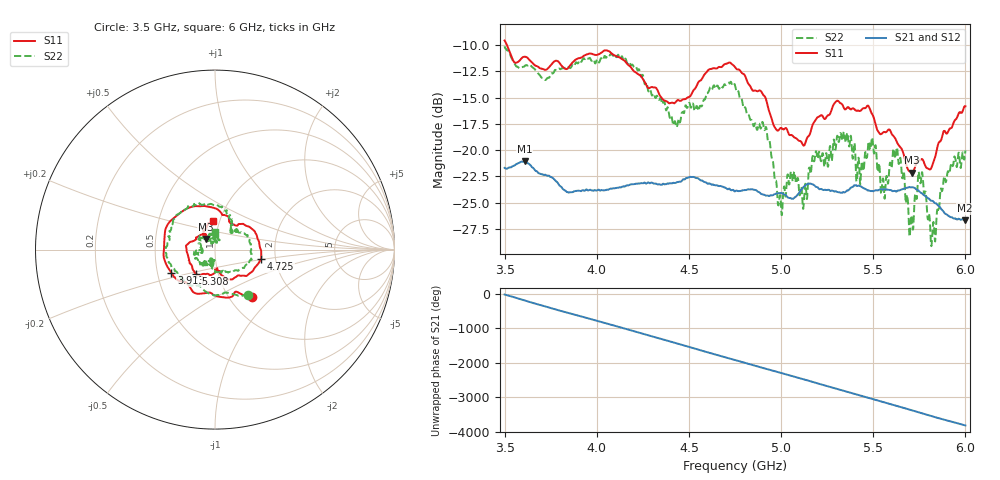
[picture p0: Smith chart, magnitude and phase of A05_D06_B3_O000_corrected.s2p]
! Created with skrf 1.9.0 (http://scikit-rf.org).
# Hz S RI R 50.0
!freq ReS11 ImS11 ReS21 ImS21 ReS12 ImS12 ReS22 ImS22
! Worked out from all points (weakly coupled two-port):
!   1601 points, 3.5 GHz to 6 GHz, reference 50 ohm
!   highest |S21| = -21.06 dB at 3.609 GHz (marker M1); lowest = -26.7 dB at 5.995 GHz (marker M2)
!   lowest |S11| = -22.1 dB at 5.711 GHz (marker M3), VSWR 1.17, Z = 44.8 + j5.29 ohm
!   |S11| at or under -10 dB: 3.513 GHz to end of sweep
!   |S22| runs from -29.1 to -10.1 dB; largest |S21 - S12| = 0.001
!   S11 on the Smith chart (normalised r, x): 3.5 GHz: 1.27, -0.75; 3.913 GHz: 0.59, -0.17; 4.725 GHz: 1.67, -0.19; 5.308 GHz: 0.78, -0.22; 6 GHz: 0.93, +0.31
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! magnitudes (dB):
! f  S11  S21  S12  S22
! 3.5 GHz  -9.5  -21.7  -21.7  -10.1
! 3.609 GHz  -11.1  -21.1  -21.1  -12.0
! 3.913 GHz  -11.2  -23.9  -23.8  -11.5
! 3.917 GHz  -11.2  -23.9  -23.8  -11.6
! 4.334 GHz  -14.5  -23.2  -23.2  -15.2
! 4.427 GHz  -15.5  -23.1  -23.1  -17.4
! 4.725 GHz  -11.7  -23.8  -23.7  -13.5
! 4.75 GHz  -12.1  -23.9  -23.8  -13.8
! 4.911 GHz  -14.9  -24.3  -24.2  -18.1
! 4.994 GHz  -17.9  -24.1  -24.0  -24.3
! 5.062 GHz  -18.6  -24.6  -24.6  -23.0
! 5.13 GHz  -19.4  -23.4  -23.4  -23.3
! 5.167 GHz  -17.8  -23.2  -23.2  -21.1
! 5.308 GHz  -15.3  -24.0  -23.9  -18.7
! 5.584 GHz  -18.0  -23.8  -23.7  -22.4
! 5.638 GHz  -19.5  -23.8  -23.8  -21.3
! 5.711 GHz  -22.1  -23.5  -23.4  -26.7
! 5.756 GHz  -20.9  -24.0  -23.9  -23.1
! 5.827 GHz  -21.1  -24.9  -24.8  -26.8
! 5.877 GHz  -18.5  -25.7  -25.7  -23.7
! 5.995 GHz  -15.8  -26.7  -26.5  -20.8
! 6 GHz  -15.8  -26.6  -26.6  -20.0
